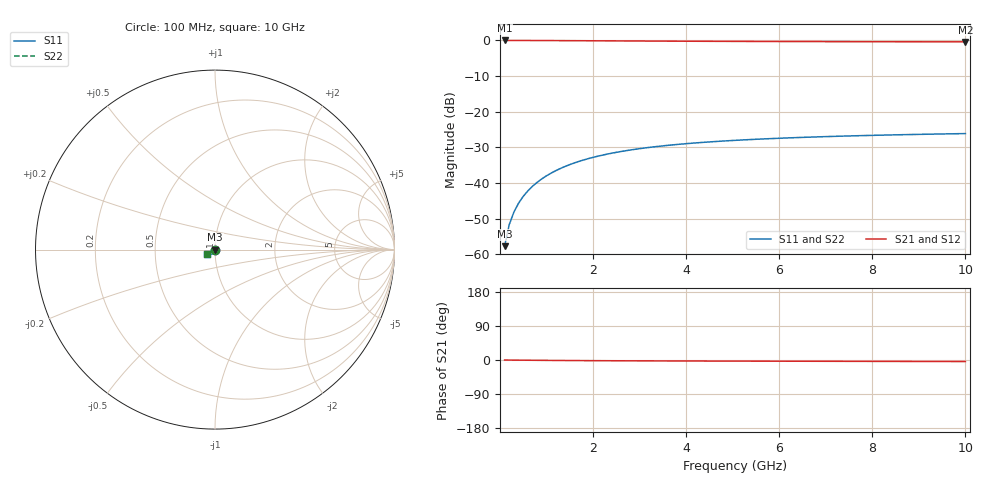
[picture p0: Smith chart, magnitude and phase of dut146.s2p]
! Touchstone file exported from HFSS 2024.1.0
!  File:  C:/UserFiles/LocalFiles/RDL_TSV_Batchsim/temp_TSV1_146_1779380982.aedt
!  Generated:  12:35:59 AM May 22, 2026
!  Design:  TSV1
!  Project:  temp_TSV1_146_1779380982
!  Setup:  Setup1
!  Solution:  Sweep
! Variables:
!  dtsv = 13.64um
!  hbump = 3um
!  htsv = 59.28um
!  lrdl = 252.1521522um
!  p = 40
!  p1 = 43.07um
!  t = 500um
!  trdl = 3um
!  wrdl = 24.89489489um
# GHz S MA R 50.000000
! Terminal data exported
! Port[1] = TSV22_T1
! Port[2] = TSV22_T2
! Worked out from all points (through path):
!   100 points, 100 MHz to 10 GHz, reference 50 ohm
!   highest |S21| = 0.00 dB at 100 MHz (marker M1); lowest = -0.4 dB at 10 GHz (marker M2)
!   lowest |S11| = -57.7 dB at 100 MHz (marker M3), VSWR 1.00, Z = 50 - j0.13 ohm
!   |S11| at or under -10 dB: start of sweep to end of sweep
!   |S22| runs from -57.7 to -26.1 dB; largest |S21 - S12| = 2.7e-14
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0.1  0.001301 -88.2  0.9999 -0.1  0.9999 -0.1  0.001301 -88.2
! Gamma 0 0 0 0
! Port Impedance 50 0 50 0
0.2  0.002615 -91.3  0.9998 -0.2  0.9998 -0.2  0.002615 -91.3
0.3  0.003919 -93.4  0.9996 -0.3  0.9996 -0.3  0.003919 -93.4
0.4  0.005213 -95.2  0.9994 -0.4  0.9994 -0.4  0.005213 -95.2
0.5  0.006494 -96.8  0.999 -0.5  0.999 -0.5  0.006494 -96.8
0.6  0.00776 -98.4  0.9987 -0.6  0.9987 -0.6  0.00776 -98.4
0.7  0.009008 -99.9  0.9982 -0.7  0.9982 -0.7  0.009008 -99.9
0.8  0.01024 -101.4  0.9978 -0.8  0.9978 -0.8  0.01024 -101.4
0.9  0.01144 -102.8  0.9972 -0.9  0.9972 -0.9  0.01144 -102.8
1.1  0.01378 -105.7  0.996 -1.1  0.996 -1.1  0.01378 -105.7
1.4  0.01708 -109.6  0.994 -1.3  0.994 -1.3  0.01708 -109.6
1.6  0.01914 -112.1  0.9925 -1.5  0.9925 -1.5  0.01914 -112.1
1.8  0.02108 -114.5  0.991 -1.6  0.991 -1.6  0.02108 -114.5
2.1  0.02376 -117.8  0.9887 -1.8  0.9887 -1.8  0.02376 -117.8
2.5  0.02694 -121.9  0.9856 -2.0  0.9856 -2.0  0.02694 -121.9
2.9  0.0297 -125.4  0.9827 -2.2  0.9827 -2.2  0.0297 -125.4
3.4  0.03267 -129.3  0.9793 -2.4  0.9793 -2.4  0.03267 -129.3
4.2  0.0365 -134.4  0.9745 -2.7  0.9745 -2.7  0.0365 -134.4
5.1  0.03984 -139.0  0.9699 -2.9  0.9699 -2.9  0.03984 -139.0
6.7  0.04413 -145.1  0.9638 -3.3  0.9638 -3.3  0.04413 -145.1
8.4  0.04726 -149.7  0.9591 -3.7  0.9591 -3.7  0.04726 -149.7
10  0.04937 -153.0  0.956 -4.1  0.956 -4.1  0.04937 -153.0
